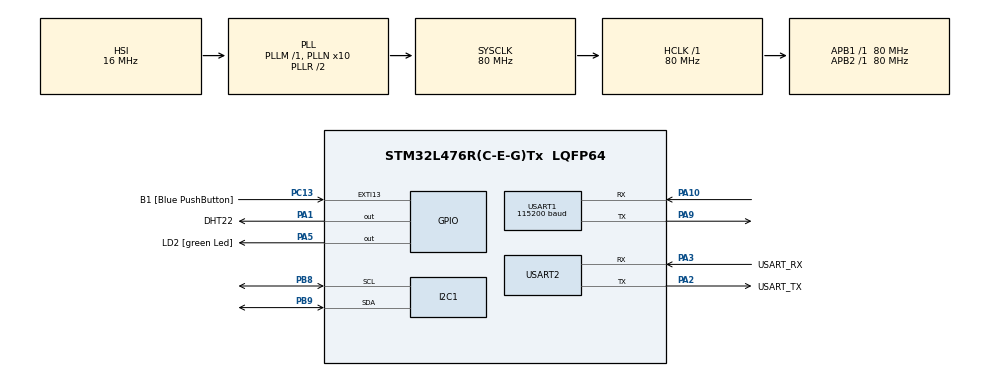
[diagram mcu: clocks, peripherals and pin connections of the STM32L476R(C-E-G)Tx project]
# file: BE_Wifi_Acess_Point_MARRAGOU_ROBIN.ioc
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I2C1.Timing=0x10909CEC
Mcu.Family=STM32L4
Mcu.Name=STM32L476R(C-E-G)Tx
Mcu.Package=LQFP64
NVIC.PriorityGroup=NVIC_PRIORITYGROUP_4
PA1.GPIO_Label=DHT22
PA1.GPIO_PuPd=GPIO_PULLUP
PA1.Signal=GPIO_Output
PA10.Mode=Asynchronous
PA10.Signal=USART1_RX
PA13\ (JTMS-SWDIO).GPIO_Label=TMS
PA13\ (JTMS-SWDIO).Mode=Serial_Wire
PA13\ (JTMS-SWDIO).Signal=SYS_JTMS-SWDIO
PA14\ (JTCK-SWCLK).GPIO_Label=TCK
PA14\ (JTCK-SWCLK).Mode=Serial_Wire
PA14\ (JTCK-SWCLK).Signal=SYS_JTCK-SWCLK
PA2.GPIO_Label=USART_TX
PA2.GPIO_Mode=GPIO_MODE_AF_PP
PA2.GPIO_PuPd=GPIO_NOPULL
PA2.GPIO_Speed=GPIO_SPEED_FREQ_VERY_HIGH
PA2.Mode=Asynchronous
PA2.Signal=USART2_TX
PA3.GPIO_Label=USART_RX
PA3.GPIO_Mode=GPIO_MODE_AF_PP
PA3.GPIO_PuPd=GPIO_NOPULL
PA3.GPIO_Speed=GPIO_SPEED_FREQ_VERY_HIGH
PA3.Mode=Asynchronous
PA3.Signal=USART2_RX
PA5.GPIO_Label=LD2 [green Led]
PA5.GPIO_ModeDefaultOutputPP=GPIO_MODE_OUTPUT_PP
PA5.GPIO_PuPd=GPIO_NOPULL
PA5.GPIO_Speed=GPIO_SPEED_FREQ_LOW
PA5.Signal=GPIO_Output
PA9.Mode=Asynchronous
PA9.Signal=USART1_TX
PB3\ (JTDO-TRACESWO).GPIO_Label=SWO
PB3\ (JTDO-TRACESWO).Signal=SYS_JTDO-SWO
PB8.Mode=I2C
PB8.Signal=I2C1_SCL
PB9.Mode=I2C
PB9.Signal=I2C1_SDA
PC13.GPIO_Label=B1 [Blue PushButton]
PC13.GPIO_ModeDefaultEXTI=GPIO_MODE_IT_FALLING
PC13.GPIO_PuPd=GPIO_NOPULL
PC13.Signal=GPXTI13
PC14-OSC32_IN\ (PC14).Mode=LSE-External-Oscillator
PC14-OSC32_IN\ (PC14).Signal=RCC_OSC32_IN
PC15-OSC32_OUT\ (PC15).Mode=LSE-External-Oscillator
PC15-OSC32_OUT\ (PC15).Signal=RCC_OSC32_OUT
PH0-OSC_IN\ (PH0).Mode=HSE-External-Oscillator
PH0-OSC_IN\ (PH0).Signal=RCC_OSC_IN
PH1-OSC_OUT\ (PH1).Mode=HSE-External-Oscillator
PH1-OSC_OUT\ (PH1).Signal=RCC_OSC_OUT
ProjectManager.HeapSize=0x200
ProjectManager.StackSize=0x400
ProjectManager.TargetToolchain=STM32CubeIDE
RCC.ADCFreq_Value=64000000
RCC.AHBFreq_Value=80000000
RCC.APB1Freq_Value=80000000
RCC.APB1TimFreq_Value=80000000
RCC.APB2Freq_Value=80000000
RCC.APB2TimFreq_Value=80000000
RCC.CortexFreq_Value=80000000
RCC.HCLKFreq_Value=80000000
RCC.HSE_VALUE=8000000
RCC.HSI_VALUE=16000000
RCC.MSI_VALUE=4000000
RCC.PLLN=10
RCC.PLLSourceVirtual=RCC_PLLSOURCE_HSI
RCC.PREFETCH_ENABLE=1
RCC.SYSCLKFreq_VALUE=80000000
RCC.SYSCLKSource=RCC_SYSCLKSOURCE_PLLCLK
RCC.USBFreq_Value=64000000
RCC.VCOOutputFreq_Value=160000000
TIM2.Prescaler=80-1
USART1.BaudRate=115200
USART1.VirtualMode-Asynchronous=VM_ASYNC
USART2.VirtualMode-Asynchronous=VM_ASYNC
VP_TIM2_VS_ClockSourceINT.Mode=Internal
board=NUCLEO-L476RG

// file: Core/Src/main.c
/* USER CODE BEGIN Header */
/**
  ******************************************************************************
  * @file           : main.c
  * @brief          : Main program body
  ******************************************************************************
  * @attention
  *
  * Copyright (c) 2022 STMicroelectronics.
  * All rights reserved.
  *
  * This software is licensed under terms that can be found in the LICENSE file
  * in the root directory of this software component.
  * If no LICENSE file comes with this software, it is provided AS-IS.
  *
  ******************************************************************************
  */
/* USER CODE END Header */
#include "main.h"
#include "i2c.h"
#include "tim.h"
#include "usart.h"
#include "gpio.h"

/* USER CODE BEGIN Includes */
#include "lib_lcd.h"
#include <TSL2561.h>
#include <stdio.h>
/* USER CODE END Includes */

/* USER CODE BEGIN PTD */
static rgb_lcd lcdData;
/* USER CODE END PTD */

/* USER CODE BEGIN PV */
float Temperature = 0, Humidite = 0;
int k = 0, reponse = 0; //variable dans le main
uint8_t HH;
uint8_t HL;
uint8_t TH;
uint8_t TL;
uint8_t SUM;
uint8_t check;
uint32_t lux = 0;
char tabH[20]; //tableau de caractère pour l'humidité à afficher sur le LCD
char tabT[20]; //tableau de caractère pour la température à afficher sur le LCD
char tabL[20]; //tableau de caractère pour la luminosité à afficher sur le LCD
UART_HandleTypeDef huart1;
UART_HandleTypeDef huart2;
uint8_t send_buffer[100] = "";
/* USER CODE END PV */

void SystemClock_Config(void);
/* USER CODE BEGIN PFP */
void Delay_us(uint16_t us);//timer en microsecondes
void Set_Pin_Output (GPIO_TypeDef *GPIOx, uint16_t GPIO_Pin);//Mise en sortie d'une broche
void Set_Pin_Input (GPIO_TypeDef *GPIOx, uint16_t GPIO_Pin);//Mise en entrée d'une broche
void DHT22_start(void);//Initialiser DHT22
int DHT22_Answer(void);//Attendre réponse duu DHT22 avant de relever des données
void DHT22_Read_Data (uint8_t *data);//Relever donnée d'humidité puis de température
void DHT22_Display_Data(void);//Afficher humidité et température sur LCD
void Mesure_Lum_TSL2561(double Converted[]);
/* USER CODE END PFP */

/* USER CODE BEGIN 0 */
void Delay_us(uint16_t us)
{
	__HAL_TIM_SET_COUNTER(&htim2, 0);
	while(__HAL_TIM_GET_COUNTER(&htim2) < us);
}

void Set_Pin_Output (GPIO_TypeDef *GPIOx, uint16_t GPIO_Pin)
{
	GPIO_InitTypeDef GPIO_InitStruct = {0};
	GPIO_InitStruct.Pin = GPIO_Pin;
	GPIO_InitStruct.Mode = GPIO_MODE_OUTPUT_PP;
	GPIO_InitStruct.Speed = GPIO_SPEED_FREQ_LOW;
	HAL_GPIO_Init(GPIOx, &GPIO_InitStruct);
}

void Set_Pin_Input (GPIO_TypeDef *GPIOx, uint16_t GPIO_Pin)
{
	GPIO_InitTypeDef GPIO_InitStruct = {0};
	GPIO_InitStruct.Pin = GPIO_Pin;
	GPIO_InitStruct.Mode = GPIO_MODE_INPUT;
	GPIO_InitStruct.Pull = GPIO_NOPULL;
	HAL_GPIO_Init(GPIOx, &GPIO_InitStruct);
}

void DHT22_start(void)
{
	Set_Pin_Output(DHT22_GPIO_Port, DHT22_Pin);//Mettre broche en sortie pour initialiser DHT22
	HAL_GPIO_WritePin(DHT22_GPIO_Port, DHT22_Pin, GPIO_PIN_RESET);
	Delay_us(1200);
	HAL_GPIO_WritePin(DHT22_GPIO_Port, DHT22_Pin, GPIO_PIN_SET);
	Delay_us(30);
	Set_Pin_Input(DHT22_GPIO_Port, DHT22_Pin); //Mettre broche en entrée pour recevoir réponse DHT22
}

int DHT22_Answer(void)
{
	//Je choisit toujours 10 us de plus pour les temps pour une marge d'erreur
	int temps = 0, reponse = 0;
	//verifier qu'on est bien a 0 pendant 80 us
	while((HAL_GPIO_ReadPin(DHT22_GPIO_Port, DHT22_Pin) == GPIO_PIN_RESET) && (temps < 90))
	{
		Delay_us(1);
		temps++;
	}

	if(temps < 90)//si on est bien rester à 0 pendant de 80 us alors OK
	{
		temps = 0;
		//verifier qu'on est bien a 1 pendant 80 us
		while((HAL_GPIO_ReadPin(DHT22_GPIO_Port, DHT22_Pin) == GPIO_PIN_SET) && (temps < 90))
		{
			Delay_us(1);
			temps++;
		}

		if(temps < 90)//si on est bient rester à 1 pendant 80 us alors OK
		{
			//début de la trame de donnée 50 us à 0 puis 1er bit de donnée
			temps = 0;

			//vérifier la reception du premier bit
			while((HAL_GPIO_ReadPin(DHT22_GPIO_Port, DHT22_Pin) == GPIO_PIN_RESET) && (temps < 60))
			{
				Delay_us(1);
				temps++;
			}
			if(temps < 60)
			{
				reponse = 1;
			}
		}
	}

	Delay_us(40);

	return reponse;
}

void DHT22_Read_Data (uint8_t *data)
{
 	int i, k;
  	for (i=0;i<8;i++)
  	{
  		if (HAL_GPIO_ReadPin (DHT22_GPIO_Port, DHT22_Pin) == GPIO_PIN_RESET)
  		{
  			(*data)&= ~(1<<(7-i)); //Mettre bit à 0
  			while(!(HAL_GPIO_ReadPin(GPIOA, GPIO_PIN_1)));
  			Delay_us(40);
  		}
  		else
  		{
  			(*data)|= (1<<(7-i)); //Mettre bit à 1
  			for (k=0;k<1000;k++)
  			{
  				if (HAL_GPIO_ReadPin (DHT22_GPIO_Port, DHT22_Pin) == GPIO_PIN_RESET)
  				  {
  				  	break;
  				  }
  			}
  			while(!(HAL_GPIO_ReadPin(DHT22_GPIO_Port, DHT22_Pin)));
  			Delay_us(40);
  		}
  	 }
}

void Display_Data(void)
{
	clearlcd();
	Delay_us(1000);
	sprintf(tabH,"Lum.: %.1lu lux   ", lux);
	sprintf(tabT, "Temp.: %.1f C   ", Temperature);
	lcd_position(&hi2c1, 0, 0);
	lcd_print(&hi2c1, tabH);
	lcd_position(&hi2c1, 0, 1);
	lcd_print(&hi2c1, tabT);
}
/* USER CODE END 0 */

int main(void)
{

  /* MCU Configuration--------------------------------------------------------*/

  /* Reset of all peripherals, Initializes the Flash interface and the Systick. */
  HAL_Init();

  /* Configure the system clock */
  SystemClock_Config();

  /* Initialize all configured peripherals */
  MX_GPIO_Init();
  MX_USART2_UART_Init();
  MX_I2C1_Init();
  MX_USART1_UART_Init();
  MX_TIM2_Init();
  /* USER CODE BEGIN 2 */
  HAL_TIM_Base_Start(&htim2);//initialisation timer
  lcd_init(&hi2c1, &lcdData); //initialisation lcd
  I2C_DEV_init();
  /* USER CODE END 2 */

  /* Infinite loop */
  while (1)
  {
	  	 HAL_Delay(1000);//Attente 1s = refaire la boucle toute les secondes
	  	 DHT22_start();
	  	 reponse = DHT22_Answer();

	  	 /*DHT22 à une trame de 40 bit, 8 premier bit humidité haute HH, 8 bit d'après humidité basse HL,
	  	 8 bit bit d'après température haute, 8 bit d'après température basse, 8 dernier bit pour verification
	  	 de l'acquisition */

	  	 if(reponse == 1)
	  	 {
	  	 	 //Commencer aquérir les 5 différents octets
	  	 	 DHT22_Read_Data(&HH);
	  	 	 DHT22_Read_Data(&HL);
	  	 	 DHT22_Read_Data(&TH);
	  	 	 DHT22_Read_Data(&TL);
	  	 	 DHT22_Read_Data(&SUM);

	  	 	 check = HH + HL + TH + TL;
	  	 	 if(check == SUM)//vérifier qu'il n'y a pas d'erreur dans les données reçu
	  	 	 {
	  	 	  	//combiner 2 octets d'humité et diviser resultat par 10 pour avoir humidité en %
	  	 	  	Humidite = (float) ((HH<<8) | HL) / 10;
	  	 	  	//combiner 2 octets de température et diviser resultat par 10 pour avoir température en °C
	  	 	  	Temperature = (float) ((TH<<8) | TL) / 10;

	  	 	  	Display_Data();//afficher température sur LCD
	  	 	 }
	  	 }
	  	 lux  =  calculateLux(2,NOM_INTEG_CYCLE);
  }
}

void SystemClock_Config(void)
{
  RCC_OscInitTypeDef RCC_OscInitStruct = {0};
  RCC_ClkInitTypeDef RCC_ClkInitStruct = {0};

  /** Configure the main internal regulator output voltage
  */
  if (HAL_PWREx_ControlVoltageScaling(PWR_REGULATOR_VOLTAGE_SCALE1) != HAL_OK)
  {
    Error_Handler();
  }
  /** Initializes the RCC Oscillators according to the specified parameters
  * in the RCC_OscInitTypeDef structure.
  */
  RCC_OscInitStruct.OscillatorType = RCC_OSCILLATORTYPE_HSI;
  RCC_OscInitStruct.HSIState = RCC_HSI_ON;
  RCC_OscInitStruct.HSICalibrationValue = RCC_HSICALIBRATION_DEFAULT;
  RCC_OscInitStruct.PLL.PLLState = RCC_PLL_ON;
  RCC_OscInitStruct.PLL.PLLSource = RCC_PLLSOURCE_HSI;
  RCC_OscInitStruct.PLL.PLLM = 1;
  RCC_OscInitStruct.PLL.PLLN = 10;
  RCC_OscInitStruct.PLL.PLLP = RCC_PLLP_DIV7;
  RCC_OscInitStruct.PLL.PLLQ = RCC_PLLQ_DIV2;
  RCC_OscInitStruct.PLL.PLLR = RCC_PLLR_DIV2;
  if (HAL_RCC_OscConfig(&RCC_OscInitStruct) != HAL_OK)
  {
    Error_Handler();
  }
  /** Initializes the CPU, AHB and APB buses clocks
  */
  RCC_ClkInitStruct.ClockType = RCC_CLOCKTYPE_HCLK|RCC_CLOCKTYPE_SYSCLK
                              |RCC_CLOCKTYPE_PCLK1|RCC_CLOCKTYPE_PCLK2;
  RCC_ClkInitStruct.SYSCLKSource = RCC_SYSCLKSOURCE_PLLCLK;
  RCC_ClkInitStruct.AHBCLKDivider = RCC_SYSCLK_DIV1;
  RCC_ClkInitStruct.APB1CLKDivider = RCC_HCLK_DIV1;
  RCC_ClkInitStruct.APB2CLKDivider = RCC_HCLK_DIV1;

  if (HAL_RCC_ClockConfig(&RCC_ClkInitStruct, FLASH_LATENCY_4) != HAL_OK)
  {
    Error_Handler();
  }
}

void Error_Handler(void)
{
  __disable_irq();
  while (1)
  {
  }
}
